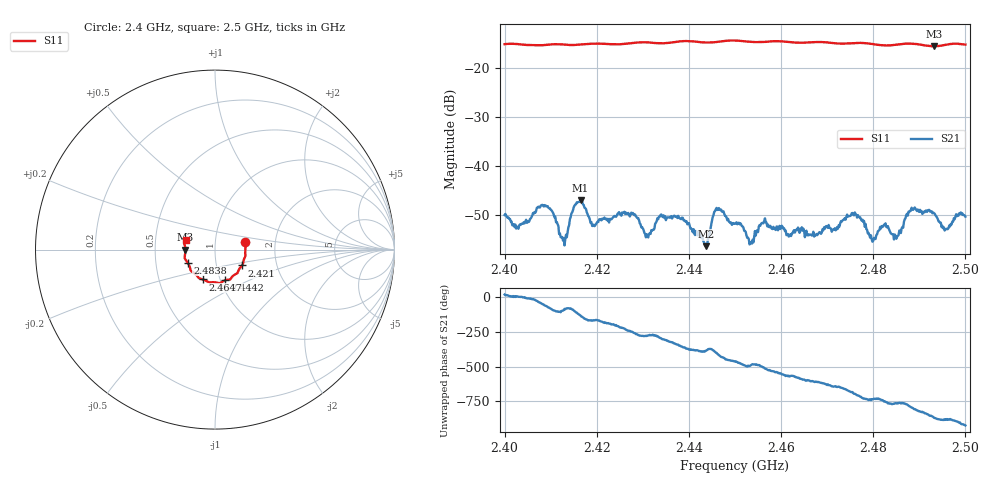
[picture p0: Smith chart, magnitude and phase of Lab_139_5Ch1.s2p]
# Hz S RI R 50
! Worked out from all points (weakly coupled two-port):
!   601 points, 2.4 GHz to 2.5 GHz, reference 50 ohm
!   highest |S21| = -46.95 dB at 2.4165 GHz (marker M1); lowest = -56.2 dB at 2.4437 GHz (marker M2)
!   lowest |S11| = -15.6 dB at 2.4932 GHz (marker M3), VSWR 1.40, Z = 35.8 - j0.092 ohm
!   |S11| at or under -10 dB: start of sweep to end of sweep
!   S12 and S22 are empty: the file has one direction only
!   S11 on the Smith chart (normalised r, x): 2.4 GHz: 1.40, +0.12; 2.421 GHz: 1.33, -0.24; 2.4442 GHz: 1.05, -0.37; 2.4647 GHz: 0.83, -0.28; 2.4838 GHz: 0.73, -0.11; 2.5 GHz: 0.72, +0.08
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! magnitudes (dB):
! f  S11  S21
! 2.4 GHz  -15.2  -49.9
! 2.4092 GHz  -15.4  -48.2
! 2.4127 GHz  -15.3  -55.1
! 2.4165 GHz  -15.3  -47.0
! 2.4167 GHz  -15.3  -47.0
! 2.421 GHz  -15.1  -51.0
! 2.4312 GHz  -14.9  -54.5
! 2.4333 GHz  -15.0  -50.8
! 2.4437 GHz  -14.9  -56.2
! 2.4442 GHz  -14.9  -54.6
! 2.446 GHz  -14.8  -48.5
! 2.45 GHz  -14.5  -51.7
! 2.4535 GHz  -14.8  -55.5
! 2.4563 GHz  -14.8  -51.1
! 2.4647 GHz  -14.9  -53.1
! 2.4667 GHz  -14.8  -54.1
! 2.4758 GHz  -15.0  -50.0
! 2.4798 GHz  -15.2  -55.3
! 2.4833 GHz  -15.5  -52.6
! 2.4838 GHz  -15.5  -53.7
! 2.4932 GHz  -15.6  -49.5
! 2.5 GHz  -15.3  -50.2
